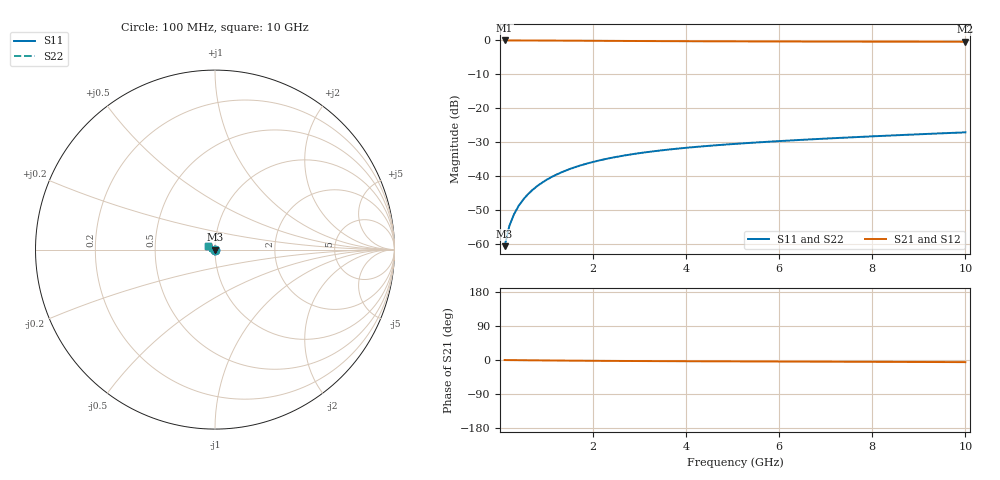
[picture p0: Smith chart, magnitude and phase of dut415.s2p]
! Touchstone file exported from HFSS 2024.1.0
!  File:  C:/UserFiles/LocalFiles/RDL_TSV_Batchsim/temp_TSV1_415_1779692836.aedt
!  Generated:  03:14:22 PM May 25, 2026
!  Design:  TSV1
!  Project:  temp_TSV1_415_1779692836
!  Setup:  Setup1
!  Solution:  Sweep
! Variables:
!  dtsv = 8.02um
!  hbump = 3um
!  htsv = 83.77um
!  lrdl = 252.1521522um
!  p = 40
!  p1 = 58.05um
!  t = 500um
!  trdl = 3um
!  wrdl = 24.89489489um
# GHz S MA R 50.000000
! Terminal data exported
! Port[1] = TSV22_T1
! Port[2] = TSV22_T2
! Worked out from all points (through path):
!   100 points, 100 MHz to 10 GHz, reference 50 ohm
!   highest |S21| = 0.00 dB at 100 MHz (marker M1); lowest = -0.4 dB at 10 GHz (marker M2)
!   lowest |S11| = -60.6 dB at 100 MHz (marker M3), VSWR 1.00, Z = 50 - j0.0912 ohm
!   |S11| at or under -10 dB: start of sweep to end of sweep
!   |S22| runs from -60.6 to -27.1 dB; largest |S21 - S12| = 8e-15
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0.1  0.0009326 -78.0  0.9997 -0.1  0.9997 -0.1  0.0009326 -78.0
! Gamma 0 0 0 0
! Port Impedance 50 0 50 0
0.2  0.001833 -87.1  0.9996 -0.2  0.9996 -0.2  0.001833 -87.1
0.3  0.002738 -91.7  0.9994 -0.4  0.9994 -0.4  0.002738 -91.7
0.4  0.003639 -95.2  0.9992 -0.5  0.9992 -0.5  0.003639 -95.2
0.5  0.004533 -98.1  0.9988 -0.6  0.9988 -0.6  0.004533 -98.1
0.6  0.005418 -100.8  0.9985 -0.7  0.9985 -0.7  0.005418 -100.8
0.7  0.006293 -103.4  0.998 -0.8  0.998 -0.8  0.006293 -103.4
0.8  0.007155 -105.8  0.9975 -0.9  0.9975 -0.9  0.007155 -105.8
0.9  0.008004 -108.2  0.997 -1.1  0.997 -1.1  0.008004 -108.2
1.1  0.009658 -112.7  0.9957 -1.3  0.9957 -1.3  0.009658 -112.7
1.4  0.01201 -119.1  0.9936 -1.6  0.9936 -1.6  0.01201 -119.1
1.6  0.01349 -123.2  0.992 -1.8  0.992 -1.8  0.01349 -123.2
1.8  0.0149 -127.1  0.9904 -1.9  0.9904 -1.9  0.0149 -127.1
2.1  0.01687 -132.7  0.9879 -2.2  0.9879 -2.2  0.01687 -132.7
2.5  0.01925 -139.7  0.9846 -2.4  0.9846 -2.4  0.01925 -139.7
2.9  0.02138 -146.2  0.9815 -2.7  0.9815 -2.7  0.02138 -146.2
3.4  0.02374 -153.5  0.9779 -3.0  0.9779 -3.0  0.02374 -153.5
4.2  0.02698 -163.9  0.973 -3.3  0.973 -3.3  0.02698 -163.9
5.1  0.03011 -173.9  0.9686 -3.7  0.9686 -3.7  0.03011 -173.9
6.7  0.03497 171.6  0.9631 -4.3  0.9631 -4.3  0.03497 171.6
8.4  0.0398 159.6  0.9594 -5.0  0.9594 -5.0  0.0398 159.6
10  0.04429 150.5  0.9569 -5.6  0.9569 -5.6  0.04429 150.5
